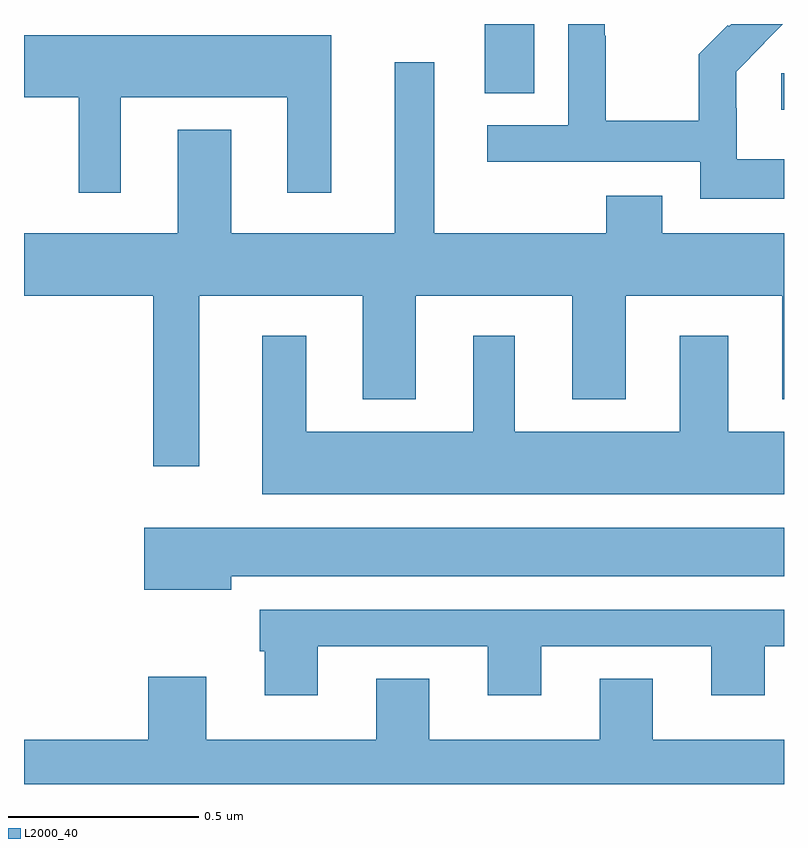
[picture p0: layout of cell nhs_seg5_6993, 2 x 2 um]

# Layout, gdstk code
import gdstk
lib = gdstk.Library(unit=1e-6, precision=1e-09)
def R(c, l, rs):  # rectangles x0, y0, x1, y1
    for r in rs: c.add(gdstk.rectangle(r[:2], r[2:], *l))
def P(c, l, *ps):  # polygons
    for p in ps: c.add(gdstk.Polygon(p, *l))
L2000_40 = (2000, 40)

nhs_seg5_6993 = lib.new_cell('nhs_seg5_6993')
R(nhs_seg5_6993, L2000_40, [(204.993,866.573,205,866.67), (204.212,866.617,204.343,866.799)])
P(nhs_seg5_6993, L2000_40, [(205,866.443),(204.876,866.443),(204.876,866.577),(204.874,866.577),(204.874,866.674),(204.948,866.748),(204.947,866.749),(204.997,866.799),(204.861,866.799),(204.855,866.793),(204.852,866.796),(204.775,866.719),(204.775,866.545),(204.531,866.545),(204.531,866.768),(204.528,866.768),(204.528,866.799),(204.432,866.799),(204.432,866.532),(204.219,866.532),(204.219,866.436),(204.78,866.436),(204.78,866.339),(205,866.339)],
  [(203.254,866.606),(203.693,866.606),(203.693,866.355),(203.809,866.355),(203.809,866.77),(203,866.77),(203,866.606),(203.144,866.606),(203.144,866.355),(203.254,866.355)],
  [(203.461,866.084),(203.891,866.084),(203.891,865.811),(204.031,865.811),(204.031,866.084),(204.443,866.084),(204.443,865.811),(204.583,865.811),(204.583,866.084),(204.995,866.084),(204.995,865.811),(205,865.811),(205,866.248),(204.679,866.248),(204.679,866.347),(204.532,866.347),(204.532,866.248),(204.079,866.248),(204.079,866.698),(203.975,866.698),(203.975,866.248),(203.545,866.248),(203.545,866.521),(203.405,866.521),(203.405,866.248),(203,866.248),(203,866.084),(203.34,866.084),(203.34,865.635),(203.461,865.635)],
  [(205,865.726),(204.853,865.726),(204.853,865.978),(204.725,865.978),(204.725,865.726),(204.292,865.726),(204.292,865.978),(204.182,865.978),(204.182,865.726),(203.743,865.726),(203.743,865.978),(203.627,865.978),(203.627,865.562),(205,865.562)],
  [(203.545,865.346),(205,865.346),(205,865.474),(203.316,865.474),(203.316,865.31),(203.545,865.31)],
  [(203.773,865.161),(204.221,865.161),(204.221,865.032),(204.361,865.032),(204.361,865.161),(204.809,865.161),(204.809,865.032),(204.949,865.032),(204.949,865.161),(205,865.161),(205,865.257),(203.621,865.257),(203.621,865.149),(203.633,865.149),(203.633,865.032),(203.773,865.032)],
  [(205,864.916),(204.655,864.916),(204.655,865.076),(204.515,865.076),(204.515,864.916),(204.067,864.916),(204.067,865.076),(203.927,865.076),(203.927,864.916),(203.479,864.916),(203.479,865.081),(203.327,865.081),(203.327,864.916),(203,864.916),(203,864.799),(205,864.799)])

lib.write_gds('nhs_seg5_6993.gds')
